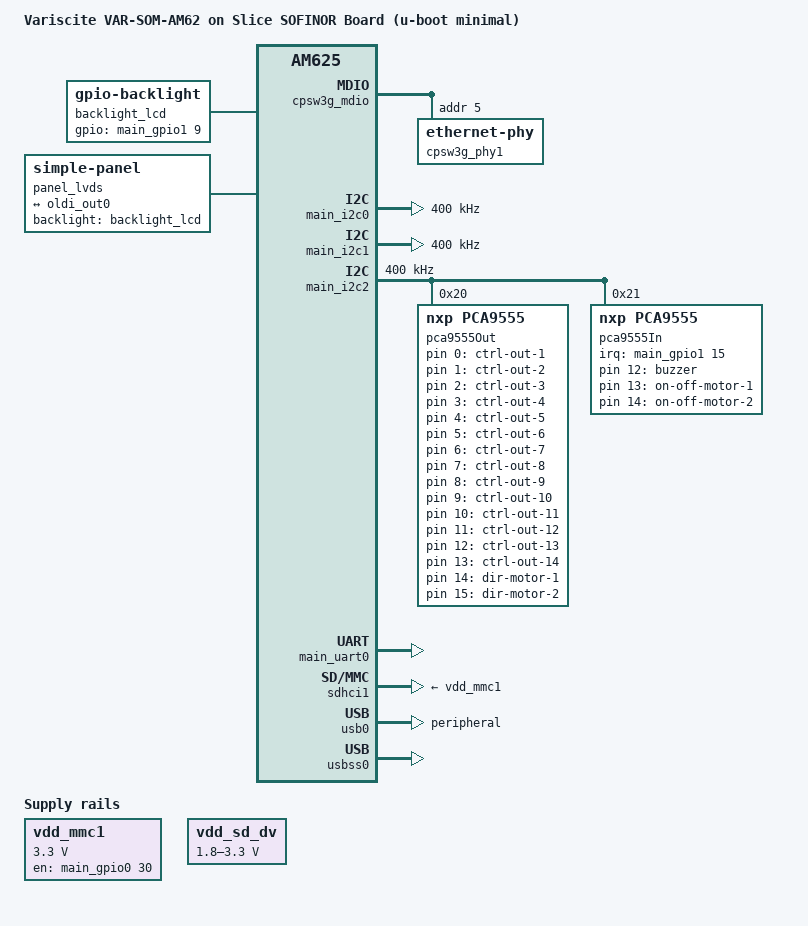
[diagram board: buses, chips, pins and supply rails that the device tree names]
// SPDX-License-Identifier: GPL-2.0
/*
 * VAR-SOM-AM62
 *
 * Copyright (C) 2021-2022 Texas Instruments Incorporated - https: //www.ti.com/
 * Copyright (C) 2023-2024 Variscite Ltd. - https: //www.variscite.com/
 */

/dts-v1/;

#include "k3-am625-var-som.dtsi"

/ {
	compatible = "ti,am625-sk", "ti,am625";
	model = "Variscite VAR-SOM-AM62 on Slice SOFINOR Board (u-boot minimal)";

	backlight_lcd: backlight-lcd {
		compatible = "gpio-backlight";
		pinctrl-names = "default";
		pinctrl-0 = <&lcd_backlight_pins_default>;
		gpios = <&main_gpio1 9 GPIO_ACTIVE_HIGH>;
		default-on;
	};

	chosen {
		stdout-path = "serial2: 115200n8";
		bootargs = "console=ttyS2,115200n8 earlycon=ns16550a,mmio32,0x02800000";
	};

	panel_lvds: panel-lvds {
		bootph-pre-ram; //enables this node at SPL stage too
		compatible = "simple-panel";
		status = "okay";
		backlight = <&backlight_lcd>;
		width-mm = <261>;
		height-mm = <163>;
		data-mapping = "vesa-24";
		panel-timings {
			bootph-pre-ram;
			clock-frequency = <25000>;
			hactive = <800>;
			vactive = <480>;
			hback-porch = <48>;
			hfront-porch = <48>;
			vback-porch = <12>;
			vfront-porch = <12>;
			hsync-len = <8>;
			vsync-len = <8>;
			de-active = <1>;
		};
		port@0 {
			lcd_in0: endpoint {
				remote-endpoint = <&oldi_out0>;
			};
		};
	};

	//SD Power on Schematic (to turn on or off SD power)
	vdd_mmc1: regulator-3 {
		compatible = "regulator-fixed";
		regulator-name = "SD_power_en";
		pinctrl-names = "default";
		pinctrl-0 = <&vdd_mmc1_pins_default>;
		regulator-min-microvolt = <3300000>;
		regulator-max-microvolt = <3300000>;
		regulator-boot-on;
		enable-active-high;
		gpio = <&main_gpio0 30 GPIO_ACTIVE_HIGH>;
	};

	//used to change sd voltage from 3.3V to 1.8V
	vdd_sd_dv: gpio-regulator-4 {
		compatible = "regulator-gpio";
		regulator-name = "SD_voltage_sel";
		pinctrl-names = "default";
		pinctrl-0 = <&vdd_sd_dv_pins_default>;//Array of one or more GPIO pins used to select the regulator voltage/current listed in "states"
		regulator-min-microvolt = <1800000>;
		regulator-max-microvolt = <3300000>;
		regulator-boot-on;
		gpios = <&main_gpio0 56 GPIO_ACTIVE_HIGH>;
		states = <1800000 0x0>,
				 <3300000 0x1>;
		//states: Selection of available voltages/currents provided by
		//this regulator and matching GPIO configurations to
		//achieve them. If there are no states in the "states"
		//array, use a fixed regulator instead
	};

	gpio-leds {
		compatible = "gpio-leds";
		status = "okay";

		ctrl_out_1 {
			label = "ctrl-out-1";                 // Label for the LED
			gpios = <&pca9555Out 0 GPIO_ACTIVE_HIGH>;// GPIO0 pin 38 (active low PNP)
			default-state = "off";                   // Initial state
		};

		ctrl_out_2 {
			label = "ctrl-out-2";                 // Label for the LED
			gpios = <&pca9555Out 1 GPIO_ACTIVE_HIGH>;// GPIO0 pin 38 (active low PNP)
			default-state = "off";                   // Initial state
		};

		ctrl_out_3 {
			label = "ctrl-out-3";                 // Label for the LED
			gpios = <&pca9555Out 2 GPIO_ACTIVE_HIGH>;// GPIO0 pin 38 (active low PNP)
			default-state = "off";                   // Initial state
		};

		ctrl_out_4 {
			label = "ctrl-out-4";                 // Label for the LED
			gpios = <&pca9555Out 3 GPIO_ACTIVE_HIGH>;// GPIO0 pin 38 (active low PNP)
			default-state = "off";                   // Initial state
		};

		ctrl_out_5 {
			label = "ctrl-out-5";                 // Label for the LED
			gpios = <&pca9555Out 4 GPIO_ACTIVE_HIGH>;// GPIO0 pin 38 (active low PNP)
			default-state = "off";                   // Initial state
		};

		ctrl_out_6 {
			label = "ctrl-out-6";                 // Label for the LED
			gpios = <&pca9555Out 5 GPIO_ACTIVE_HIGH>;// GPIO0 pin 38 (active low PNP)
			default-state = "off";                   // Initial state
		};

		ctrl_out_7 {
			label = "ctrl-out-7";                 // Label for the LED
			gpios = <&pca9555Out 6 GPIO_ACTIVE_HIGH>;// GPIO0 pin 38 (active low PNP)
			default-state = "off";                   // Initial state
		};

		ctrl_out_8 {
			label = "ctrl-out-8";                 // Label for the LED
			gpios = <&pca9555Out 7 GPIO_ACTIVE_HIGH>;// GPIO0 pin 38 (active low PNP)
			default-state = "off";                   // Initial state
		};

		ctrl_out_9 {
			label = "ctrl-out-9";                 // Label for the LED
			gpios = <&pca9555Out 8 GPIO_ACTIVE_HIGH>;// GPIO0 pin 38 (active low PNP)
			default-state = "off";                   // Initial state
		};

		ctrl_out_10 {
			label = "ctrl-out-10";                 // Label for the LED
			gpios = <&pca9555Out 9 GPIO_ACTIVE_HIGH>;// GPIO0 pin 38 (active low PNP)
			default-state = "off";                   // Initial state
		};

		ctrl_out_11 {
			label = "ctrl-out-11";                 // Label for the LED
			gpios = <&pca9555Out 10 GPIO_ACTIVE_HIGH>;// GPIO0 pin 38 (active low PNP)
			default-state = "off";                   // Initial state
		};

		ctrl_out_12 {
			label = "ctrl-out-12";                 // Label for the LED
			gpios = <&pca9555Out 11 GPIO_ACTIVE_HIGH>;// GPIO0 pin 38 (active low PNP)
			default-state = "off";                   // Initial state
		};

		ctrl_out_13 {
			label = "ctrl-out-13";                 // Label for the LED
			gpios = <&pca9555Out 12 GPIO_ACTIVE_HIGH>;// GPIO0 pin 38 (active low PNP)
			default-state = "off";                   // Initial state
		};

		ctrl_out_14 {
			label = "ctrl-out-14";                 // Label for the LED
			gpios = <&pca9555Out 13 GPIO_ACTIVE_HIGH>;// GPIO0 pin 38 (active low PNP)
			default-state = "off";                   // Initial state
		};

		dir_motor_1 {
			label = "dir-motor-1";                 // Label for the LED
			gpios = <&pca9555Out 14 GPIO_ACTIVE_HIGH>;// GPIO0 pin 38 (active low PNP)
			default-state = "off";                   // Initial state
		};

		dir_motor_2 {
			label = "dir-motor-2";                 // Label for the LED
			gpios = <&pca9555Out 15 GPIO_ACTIVE_HIGH>;// GPIO0 pin 38 (active low PNP)
			default-state = "off";                   // Initial state
		};

		buzzer {
			label = "buzzer";                 // Label for the LED
			gpios = <&pca9555In 12 GPIO_ACTIVE_HIGH>;
			default-state = "off";                   // Initial state
		};

		onoffmotor1 {
			label = "on-off-motor-1";                 // Label for the LED
			gpios = <&pca9555In 13 GPIO_ACTIVE_HIGH>;
			default-state = "off";                   // Initial state
		};

		onoffmotor2 {
			label = "on-off-motor-2";                 // Label for the LED
			gpios = <&pca9555In 14 GPIO_ACTIVE_HIGH>;
			default-state = "off";                   // Initial state
		};
	};
};

&cpsw3g_mdio {
	cpsw3g_phy1: ethernet-phy@5 {
		reg = <5>;
	};
};

&cpsw_port2 {
	status = "disabled";
};

&dss {
	pinctrl-names = "default";
	pinctrl-0 = <&main_oldi0_pins_default>;
};

&dss_ports {
	#address-cells = <1>;
	#size-cells = <0>;
	/* VP1: LVDS Output (OLDI TX 0) */
	port@0 {
		reg = <0>;
		oldi_out0: endpoint {
			remote-endpoint = <&lcd_in0>;
		};
	};
};

&main_i2c0 {
	status = "okay";
	pinctrl-names = "default";
	pinctrl-0 = <&main_i2c0_pins_default>;
	clock-frequency = <400000>;
};

&main_i2c1 {
	status = "okay";
	pinctrl-names = "default";
	pinctrl-0 = <&main_i2c1_pins_default>;
	clock-frequency = <400000>;
};

&main_i2c2 {
	status = "okay";
	pinctrl-names = "default";
	pinctrl-0 = <&main_i2c2_pins_default>;
	clock-frequency = <400000>;

	/* GPIO expander */
	pca9555Out: pca9555Out@20 {
		compatible = "nxp,pca9555";
		reg = <0x20>;
		gpio-controller;
		pinctrl-names = "default";
		#gpio-cells = <2>;
		status = "okay";
	};
	pca9555In: pca9555In@21 {
		compatible = "nxp,pca9555";
		reg = <0x21>;
		gpio-controller;
		pinctrl-names = "default";
		pinctrl-0 = <&pca9555_irq_default>;
		interrupt-parent = <&main_gpio1>;
		interrupts = <15 IRQ_TYPE_EDGE_FALLING>;
		#gpio-cells = <2>;
		wakeup-source;
		status = "okay";
	};
};

&main_pmx0 {

	lcd_backlight_pins_default: lcd-backlight-pins-default {
		pinctrl-single,pins = <AM62X_IOPAD(0x19c, PIN_INPUT_PULLUP, 0) /* (B18) GPIO_1_9 */>;
	};

	//Interrupt for Input GPIO Expander
	pca9555_irq_default: pca9555_irq_default {
		pinctrl-single,pins = <AM62X_IOPAD(0x01b0, PIN_INPUT, 7) /* (A20) MCASP0_ACLKR.GPIO1_14 */>;
	};

	//Interrupt for Future Input GPIO Expander
	future_irq_default: future_irq_default {
		pinctrl-single,pins = <AM62X_IOPAD(0x009c, PIN_INPUT, 7) /* (V25) GPMC0_WAIT1.GPIO0_38 */>;
	};
	
	main_i2c0_pins_default: main-i2c0-pins-default {
		pinctrl-single,pins = <
		AM62X_IOPAD(0x1e0, PIN_INPUT_PULLUP, 0) /* (B16) I2C0_SCL */
		AM62X_IOPAD(0x1e4, PIN_INPUT_PULLUP, 0) /* (A16) I2C0_SDA */
		>;
	};

	main_i2c1_pins_default: main-i2c1-pins-default {
		pinctrl-single,pins = <
		AM62X_IOPAD(0x1e8, PIN_INPUT_PULLUP, 0) /* (B17) I2C1_SCL */
		AM62X_IOPAD(0x1ec, PIN_INPUT_PULLUP, 0) /* (A17) I2C1_SDA */
		>;
	};

	main_i2c2_pins_default: main-i2c2-pins-default {
		pinctrl-single,pins = <
		AM62X_IOPAD(0x0b0, PIN_INPUT_PULLUP, 1) /* (K22) GPMC0_CSn2.I2C2_SCL */
		AM62X_IOPAD(0x0b4, PIN_INPUT_PULLUP, 1) /* (K24) GPMC0_CSn3.I2C2_SDA */
		>;
	};

	main_mmc1_pins_default: main-mmc1-pins-default {
		pinctrl-single,pins = <
		AM62X_IOPAD(0x23c, PIN_INPUT, 0) /* (A21) MMC1_CMD */
		AM62X_IOPAD(0x234, PIN_INPUT, 0) /* (B22) MMC1_CLK */
		AM62X_IOPAD(0x230, PIN_INPUT, 0) /* (A22) MMC1_DAT0 */
		AM62X_IOPAD(0x22c, PIN_INPUT, 0) /* (B21) MMC1_DAT1 */
		AM62X_IOPAD(0x228, PIN_INPUT, 0) /* (C21) MMC1_DAT2 */
		AM62X_IOPAD(0x224, PIN_INPUT, 0) /* (D22) MMC1_DAT3 */
		AM62X_IOPAD(0x240, PIN_INPUT, 0) /* (D17) MMC1_SDCD */
		>;
	};

	main_oldi0_pins_default: main-oldi0-pins-default {
		pinctrl-single,pins = <
		AM62X_IOPAD(0x0260, PIN_INPUT, 0) /* (AA5) OLDI0_A0N */
		AM62X_IOPAD(0x025c, PIN_OUTPUT, 0) /* (Y6) OLDI0_A0P */
		AM62X_IOPAD(0x0268, PIN_OUTPUT, 0) /* (AD3) OLDI0_A1N */
		AM62X_IOPAD(0x0264, PIN_OUTPUT, 0) /* (AB4) OLDI0_A1P */
		AM62X_IOPAD(0x0270, PIN_OUTPUT, 0) /* (Y8) OLDI0_A2N */
		AM62X_IOPAD(0x026c, PIN_OUTPUT, 0) /* (AA8) OLDI0_A2P */
		AM62X_IOPAD(0x0278, PIN_OUTPUT, 0) /* (AB6) OLDI0_A3N */
		AM62X_IOPAD(0x0274, PIN_OUTPUT, 0) /* (AA7) OLDI0_A3P */
		AM62X_IOPAD(0x0280, PIN_OUTPUT, 0) /* (AC6) OLDI0_A4N */
		AM62X_IOPAD(0x027c, PIN_OUTPUT, 0) /* (AC5) OLDI0_A4P */
		AM62X_IOPAD(0x0288, PIN_OUTPUT, 0) /* (AE5) OLDI0_A5N */
		AM62X_IOPAD(0x0284, PIN_OUTPUT, 0) /* (AD6) OLDI0_A5P */
		AM62X_IOPAD(0x0290, PIN_OUTPUT, 0) /* (AE6) OLDI0_A6N */
		AM62X_IOPAD(0x028c, PIN_OUTPUT, 0) /* (AD7) OLDI0_A6P */
		AM62X_IOPAD(0x0298, PIN_OUTPUT, 0) /* (AD8) OLDI0_A7N */
		AM62X_IOPAD(0x0294, PIN_OUTPUT, 0) /* (AE7) OLDI0_A7P */
		AM62X_IOPAD(0x02a0, PIN_OUTPUT, 0) /* (AD4) OLDI0_CLK0N */
		AM62X_IOPAD(0x029c, PIN_OUTPUT, 0) /* (AE3) OLDI0_CLK0P */
		AM62X_IOPAD(0x02a8, PIN_OUTPUT, 0) /* (AE4) OLDI0_CLK1N */
		AM62X_IOPAD(0x02a4, PIN_OUTPUT, 0) /* (AD5) OLDI0_CLK1P */
		>;
	};

	main_uart0_pins_default: main-uart0-pins-default {
		pinctrl-single,pins = <
		AM62X_IOPAD(0x1c8, PIN_INPUT, 0) /* (D14) UART0_RXD */
		AM62X_IOPAD(0x1cc, PIN_OUTPUT, 0) /* (E14) UART0_TXD */
		>;
	};

	// main_usb1_pins_default: main-usb1-pins-default {
	// 	pinctrl-single,pins = <
	// 	AM62X_IOPAD(0x0258, PIN_OUTPUT, 0) /* (F18) USB1_DRVVBUS */
	// 	>;
	// };

	vdd_mmc1_pins_default: vdd-mmc1-pins-default {
		pinctrl-single,pins = <AM62X_IOPAD(0x0078, PIN_OUTPUT, 7) /* (U24) GPMC0_AD15.GPIO0_30 */>;
	};

	vdd_sd_dv_pins_default: vdd-sd-dv-pins-default {
		pinctrl-single,pins = <AM62X_IOPAD(0x00e4, PIN_OUTPUT, 7) /* (AA23) VOUT0_DATA11.GPIO0_56 */>;
	};
};

&main_uart0 {
	status = "okay";
	pinctrl-names = "default";
	pinctrl-0 = <&main_uart0_pins_default>;
};

&main_uart1 {
	/* Main UART1 is used by TIFS firmware */
	status = "reserved";
};

&mcu_i2c0 {
	status = "disabled";
};

&mcu_uart0 {
	status = "disabled";
};

/* SD card */
&sdhci1 {
	status = "okay";
	vmmc-supply = <&vdd_mmc1>;//phandle to the regulator device tree node, mentioned as the VCC/VDD supply in the eMMC/SD specs.
	vqmmc-supply = <&vdd_sd_dv>;//phandle to the regulator device tree node, mentioned as the VCCQ/VDD_IO supply in the eMMC/SD specs
	pinctrl-names = "default";
	pinctrl-0 = <&main_mmc1_pins_default>;
	disable-wp;
};

&usb0 {
	    dr_mode = "peripheral";
};

// &usb1 {
	//     dr_mode = "host";
	//     pinctrl-names = "default";
	//     pinctrl-0 = <&main_usb1_pins_default>;
// };

&usbss0 {
	    status = "okay";
	    ti,vbus-divider;
};

// &usbss1 {
	//     status = "okay";
// };

&wkup_i2c0 {
	status = "disabled";
};

&wkup_uart0 {
	/* WKUP UART0 is used by DM firmware */
	status = "reserved";
};
